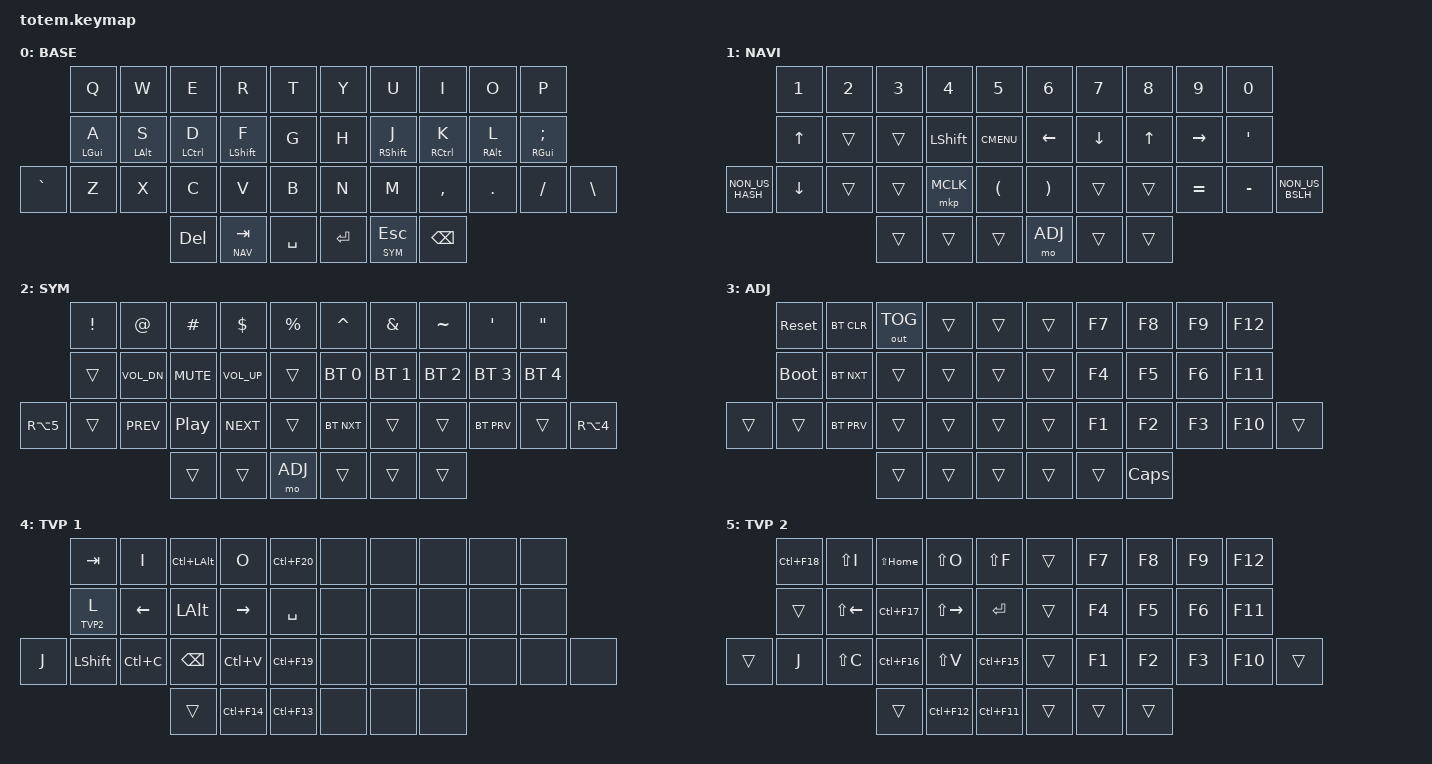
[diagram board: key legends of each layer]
//
//                                                        ▀▀▀▀▀     ▀▀▀▀▀          ▀▀█▀▀
//                                                        ▄▀▀▀▄  ▄  ▄▀▀▀▄  ▄  ▄▀▀▀▄  █  ▄▀▀▀▄
//                                                        █   █  █  █   █  █  █   █  █  █   █
//                                                         ▀▀▀   █   ▀▀▀   █   ▀▀▀   ▀   ▀▀▀
//                                                               █      ▄▄▄█▄▄▄    █   █  
//                                                               ▀      █  █  █     █▄█
//                                                             ▀▀▀▀▀    █  █  █      ▀
//                                                                      ▀  ▀  ▀
//
// ▄▄▄▄▄▄▄▄▄▄▄▄▄▄▄▄▄▄▄▄▄▄▄▄▄▄▄▄▄▄▄▄▄▄▄▄▄▄▄▄▄▄▄▄▄▄▄▄▄▄▄▄▄▄▄▄▄▄▄▄▄▄▄▄▄▄▄▄▄▄▄▄▄▄▄▄▄▄▄▄▄▄▄▄▄▄▄▄▄▄▄▄▄▄▄▄▄▄▄▄▄▄▄▄▄▄▄▄▄▄▄▄▄▄▄▄▄▄▄▄▄▄▄▄▄▄▄▄▄▄▄▄▄▄▄▄▄▄▄▄▄▄▄▄▄▄▄▄▄
       

#include <behaviors.dtsi>
#include <dt-bindings/zmk/keys.h>
#include <dt-bindings/zmk/bt.h>
#include <dt-bindings/zmk/outputs.h>
#include <dt-bindings/zmk/mouse.h>

#define BASE 0
#define NAV  1
#define SYM  2
#define ADJ  3
#define TVP1 4
#define TVP2 5

&mt {
  quick-tap-ms = <100>;
  global-quick-tap;
  flavor = "tap-preferred";
  tapping-term-ms = <170>;
};

/ {
     combos {
            compatible = "zmk,combos";
            combo_esc {
                timeout-ms = <50>;
                key-positions = <0 1>;
                bindings = <&kp ESC>;
            };
            combo_tvp {
                timeout-ms = <100>;
                key-positions = <11 12 13>;
                bindings = <&tog TVP1>;
            };
    };

    macros {
        gif: gif {
            label = "giphy";
            compatible = "zmk,behavior-macro";
            #binding-cells = <0>;
            bindings
                = <&macro_press &kp LSHFT>
                , <&macro_tap &kp N2>
                , <&macro_release &kp LSHFT>
                , <&macro_tap &kp G &kp I &kp F>
                ;
        };
    };

        keymap {
                compatible = "zmk,keymap";
// ▄▄▄▄▄▄▄▄▄▄▄▄▄▄▄▄▄▄▄▄▄▄▄▄▄▄▄▄▄▄▄▄▄▄▄▄▄▄▄▄▄▄▄▄▄▄▄▄▄▄▄▄▄▄▄▄▄▄▄▄▄▄▄▄▄▄▄▄▄▄▄▄▄▄▄▄▄▄▄▄▄▄▄▄▄▄▄▄▄▄▄▄▄▄▄▄▄▄▄▄▄▄▄▄▄▄▄▄▄▄▄▄▄▄▄▄▄▄▄▄▄▄▄▄▄▄▄▄▄▄▄▄▄▄▄▄▄▄▄▄▄▄▄▄▄▄▄▄▄

                base_layer {
// ┏━━━━━━━━━━━━━━━━━━━━━━━━━━━━━━━━━━━━━━━┓
label= "BASE"                              ;
// ┗━━━━━━━━━━━━━━━━━━━━━━━━━━━━━━━━━━━━━━━┛
//             ┏━━━━━━━━━━━┳━━━━━━━━━━━┳━━━━━━━━━━━┳━━━━━━━━━━━┳━━━━━━━━━━━┓   ┏━━━━━━━━━━━┳━━━━━━━━━━━┳━━━━━━━━━━━┳━━━━━━━━━━━┳━━━━━━━━━━━┓
//             ┃     Q     ┃     W     ┃     E     ┃     R     ┃     T     ┃   ┃     Y     ┃     U     ┃     I     ┃     O     ┃     P     ┃
//             ┣━━━━━━━━━━━╋━━━━━━━━━━━╋━━━━━━━━━━━╋━━━━━━━━━━━╋━━━━━━━━━━━┫   ┣━━━━━━━━━━━╋━━━━━━━━━━━╋━━━━━━━━━━━╋━━━━━━━━━━━╋━━━━━━━━━━━┫
//             ┃     A     ┃     S     ┃     D     ┃     F     ┃     G     ┃   ┃     H     ┃     J     ┃     K     ┃     L     ┃     ;     ┃
// ┏━━━━━━━━━━━╋━━━━━━━━━━━╋━━━━━━━━━━━╋━━━━━━━━━━━╋━━━━━━━━━━━╋━━━━━━━━━━━┫   ┣━━━━━━━━━━━╋━━━━━━━━━━━╋━━━━━━━━━━━╋━━━━━━━━━━━╋━━━━━━━━━━━╋━━━━━━━━━━━┓
// ┃     `     ┃     Z     ┃     X     ┃     C     ┃     V     ┃     B     ┃   ┃     N     ┃     M     ┃     ,     ┃     .     ┃     /     ┃     \     ┃
// ┗━━━━━━━━━━━┻━━━━━━━━━━━┻━━━━━━━━━━━╋━━━━━━━━━━━╋━━━━━━━━━━━╋━━━━━━━━━━━┫   ┣━━━━━━━━━━━╋━━━━━━━━━━━╋━━━━━━━━━━━╋━━━━━━━━━━━┻━━━━━━━━━━━┻━━━━━━━━━━━┛
//                                     ┃    DEL    ┃    TAB    ┃    SPC    ┃   ┃   ENTER   ┃    ESC    ┃   BSPC    ┃
//                                     ┗━━━━━━━━━━━┻━━━━━━━━━━━┻━━━━━━━━━━━┛   ┗━━━━━━━━━━━┻━━━━━━━━━━━┻━━━━━━━━━━━┛
 bindings = <
// ╷           ╷           ╷           ╷           ╷           ╷           ╷   ╷           ╷           ╷           ╷           ╷           ╷           ╷

                &kp Q       &kp W       &kp E       &kp R       &kp T           &kp Y       &kp U       &kp I       &kp O       &kp P
                &mt LGUI A  &mt LALT S  &mt LCTRL D &mt LSHFT F &kp G           &kp H       &mt RSHFT J &mt RCTRL K &mt RALT L  &mt RGUI SEMI
    &kp GRAVE   &kp Z       &kp X       &kp C       &kp V       &kp B           &kp N       &kp M       &kp COMMA   &kp DOT     &kp FSLH    &kp BSLH
                                        &kp DEL   &lt NAV TAB   &kp SPACE       &kp RET   &lt SYM ESC   &kp BSPC
                        >;
                };

// ▄▄▄▄▄▄▄▄▄▄▄▄▄▄▄▄▄▄▄▄▄▄▄▄▄▄▄▄▄▄▄▄▄▄▄▄▄▄▄▄▄▄▄▄▄▄▄▄▄▄▄▄▄▄▄▄▄▄▄▄▄▄▄▄▄▄▄▄▄▄▄▄▄▄▄▄▄▄▄▄▄▄▄▄▄▄▄▄▄▄▄▄▄▄▄▄▄▄▄▄▄▄▄▄▄▄▄▄▄▄▄▄▄▄▄▄▄▄▄▄▄▄▄▄▄▄▄▄▄▄▄▄▄▄▄▄▄▄▄▄▄▄▄▄▄▄▄▄▄


                nav_layer {
// ┏━━━━━━━━━━━━━━━━━━━━━━━━━━━━━━━━━━━━━━━┓
label= "NAVI"                              ;
// ┗━━━━━━━━━━━━━━━━━━━━━━━━━━━━━━━━━━━━━━━┛
//             ┏━━━━━━━━━━━┳━━━━━━━━━━━┳━━━━━━━━━━━┳━━━━━━━━━━━┳━━━━━━━━━━━┓   ┏━━━━━━━━━━━┳━━━━━━━━━━━┳━━━━━━━━━━━┳━━━━━━━━━━━┳━━━━━━━━━━━┓
//             ┃     1     ┃     2     ┃     3     ┃     4     ┃     5     ┃   ┃     6     ┃     7     ┃     8     ┃     9     ┃     0     ┃
//             ┣━━━━━━━━━━━╋━━━━━━━━━━━╋━━━━━━━━━━━╋━━━━━━━━━━━╋━━━━━━━━━━━┫   ┣━━━━━━━━━━━╋━━━━━━━━━━━╋━━━━━━━━━━━╋━━━━━━━━━━━╋━━━━━━━━━━━┫
//             ┃     UP    ┃           ┃           ┃   SHIFT   ┃    MENU   ┃   ┃    LEFT   ┃    DOWN   |    UP     ┃   RIGHT   ┃     '     ┃
// ┏━━━━━━━━━━━╋━━━━━━━━━━━╋━━━━━━━━━━━╋━━━━━━━━━━━╋━━━━━━━━━━━╋━━━━━━━━━━━┫   ┣━━━━━━━━━━━╋━━━━━━━━━━━╋━━━━━━━━━━━╋━━━━━━━━━━━╋━━━━━━━━━━━╋━━━━━━━━━━━┓
// ┃ # (no-US) ┃    DOWN   ┃           ┃           ┃ MID MOUSE ┃     [     ┃   ┃     ]     ┃           ┃           ┃     =     ┃     -     ┃ \ (no-US) ┃
// ┗━━━━━━━━━━━┻━━━━━━━━━━━┻━━━━━━━━━━━╋━━━━━━━━━━━╋━━━━━━━━━━━╋━━━━━━━━━━━┫   ┣━━━━━━━━━━━╋━━━━━━━━━━━╋━━━━━━━━━━━╋━━━━━━━━━━━┻━━━━━━━━━━━┻━━━━━━━━━━━┛
//                                     ┃           ┃           ┃           ┃   ┃    ADJ    ┃           ┃           ┃
//                                     ┗━━━━━━━━━━━┻━━━━━━━━━━━┻━━━━━━━━━━━┛   ┗━━━━━━━━━━━┻━━━━━━━━━━━┻━━━━━━━━━━━┛
 bindings = <
// ╷           ╷           ╷           ╷           ╷           ╷           ╷   ╷           ╷           ╷           ╷           ╷           ╷           ╷

                &kp N1      &kp N2      &kp N3      &kp N4      &kp N5          &kp N6      &kp N7      &kp N8      &kp N9      &kp N0
                &kp UP      &trans      &trans      &kp LSHIFT  &kp K_CMENU     &kp LEFT    &kp DOWN    &kp UP      &kp RIGHT   &kp SQT
&kp NON_US_HASH &kp DOWN    &trans      &trans      &mkp MCLK   &kp LPAR        &kp RPAR    &trans      &trans      &kp EQUAL   &kp MINUS    &kp NON_US_BSLH     
                                        &trans      &trans      &trans          &mo ADJ     &trans      &trans      
                        >;
                };

// ▄▄▄▄▄▄▄▄▄▄▄▄▄▄▄▄▄▄▄▄▄▄▄▄▄▄▄▄▄▄▄▄▄▄▄▄▄▄▄▄▄▄▄▄▄▄▄▄▄▄▄▄▄▄▄▄▄▄▄▄▄▄▄▄▄▄▄▄▄▄▄▄▄▄▄▄▄▄▄▄▄▄▄▄▄▄▄▄▄▄▄▄▄▄▄▄▄▄▄▄▄▄▄▄▄▄▄▄▄▄▄▄▄▄▄▄▄▄▄▄▄▄▄▄▄▄▄▄▄▄▄▄▄▄▄▄▄▄▄▄▄▄▄▄▄▄▄▄▄


                sim_layer {
// ┏━━━━━━━━━━━━━━━━━━━━━━━━━━━━━━━━━━━━━━━┓
label= "SYM"                               ;
// ┗━━━━━━━━━━━━━━━━━━━━━━━━━━━━━━━━━━━━━━━┛
//             ┏━━━━━━━━━━━┳━━━━━━━━━━━┳━━━━━━━━━━━┳━━━━━━━━━━━┳━━━━━━━━━━━┓   ┏━━━━━━━━━━━┳━━━━━━━━━━━┳━━━━━━━━━━━┳━━━━━━━━━━━┳━━━━━━━━━━━┓
//             ┃     !     ┃     @     ┃     #     ┃     $     ┃     %     ┃   ┃     ˆ     ┃     &     ┃     ~     ┃     '     ┃     "     ┃
//             ┣━━━━━━━━━━━╋━━━━━━━━━━━╋━━━━━━━━━━━╋━━━━━━━━━━━╋━━━━━━━━━━━┫   ┣━━━━━━━━━━━╋━━━━━━━━━━━╋━━━━━━━━━━━╋━━━━━━━━━━━╋━━━━━━━━━━━┫
//             ┃           ┃    VOL-   ┃   MUTE    ┃    VOL+   ┃           ┃   ┃    BT 0   ┃    BT 1   ┃    BT 2   ┃    BT 3   ┃    BT 4   ┃
// ┏━━━━━━━━━━━╋━━━━━━━━━━━╋━━━━━━━━━━━╋━━━━━━━━━━━╋━━━━━━━━━━━╋━━━━━━━━━━━┫   ┣━━━━━━━━━━━╋━━━━━━━━━━━╋━━━━━━━━━━━╋━━━━━━━━━━━╋━━━━━━━━━━━╋━━━━━━━━━━━┓
// ┃           ┃           ┃    PREV   ┃   PLAY    ┃   NEXT    ┃           ┃   ┃  BT NEXT  ┃           ┃           ┃  BT PREV  ┃           ┃           ┃
// ┗━━━━━━━━━━━┻━━━━━━━━━━━┻━━━━━━━━━━━╋━━━━━━━━━━━╋━━━━━━━━━━━╋━━━━━━━━━━━┫   ┣━━━━━━━━━━━╋━━━━━━━━━━━╋━━━━━━━━━━━╋━━━━━━━━━━━┻━━━━━━━━━━━┻━━━━━━━━━━━┛
//                                     ┃           ┃           ┃    ADJ    ┃   ┃           ┃           ┃           ┃
//                                     ┗━━━━━━━━━━━┻━━━━━━━━━━━┻━━━━━━━━━━━┛   ┗━━━━━━━━━━━┻━━━━━━━━━━━┻━━━━━━━━━━━┛
 bindings = <
// ╷           ╷           ╷           ╷           ╷           ╷           ╷   ╷           ╷           ╷           ╷           ╷           ╷           ╷

                &kp EXCL    &kp AT      &kp HASH    &kp DLLR    &kp PRCNT       &kp CARET   &kp AMPS    &kp TILDE   &kp SQT     &kp DQT       
                &trans    &kp C_VOL_DN &kp C_MUTE  &kp C_VOL_UP &trans       &bt BT_SEL 0 &bt BT_SEL 1 &bt BT_SEL 2 &bt BT_SEL 3 &bt BT_SEL 4
    &kp RA(N5)  &trans      &kp C_PREV  &kp C_PP    &kp C_NEXT  &trans          &bt BT_NXT  &trans      &trans      &bt BT_PRV  &trans      &kp RA(N4)         
                                        &trans      &trans      &mo ADJ         &trans      &trans      &trans      
                        >;
                };

// ▄▄▄▄▄▄▄▄▄▄▄▄▄▄▄▄▄▄▄▄▄▄▄▄▄▄▄▄▄▄▄▄▄▄▄▄▄▄▄▄▄▄▄▄▄▄▄▄▄▄▄▄▄▄▄▄▄▄▄▄▄▄▄▄▄▄▄▄▄▄▄▄▄▄▄▄▄▄▄▄▄▄▄▄▄▄▄▄▄▄▄▄▄▄▄▄▄▄▄▄▄▄▄▄▄▄▄▄▄▄▄▄▄▄▄▄▄▄▄▄▄▄▄▄▄▄▄▄▄▄▄▄▄▄▄▄▄▄▄▄▄▄▄▄▄▄▄▄▄


                adjust_layer {
// ┏━━━━━━━━━━━━━━━━━━━━━━━━━━━━━━━━━━━━━━━┓
label= "ADJ"                               ;
// ┗━━━━━━━━━━━━━━━━━━━━━━━━━━━━━━━━━━━━━━━┛
//             ┏━━━━━━━━━━━┳━━━━━━━━━━━┳━━━━━━━━━━━┳━━━━━━━━━━━┳━━━━━━━━━━━┓   ┏━━━━━━━━━━━┳━━━━━━━━━━━┳━━━━━━━━━━━┳━━━━━━━━━━━┳━━━━━━━━━━━┓
//             ┃   RESET   ┃ BT CLEAR  ┃  OUT TOG  ┃           ┃           ┃   ┃           ┃    F7     ┃    F8     ┃    F9     ┃    F12    ┃
//             ┣━━━━━━━━━━━╋━━━━━━━━━━━╋━━━━━━━━━━━╋━━━━━━━━━━━╋━━━━━━━━━━━┫   ┣━━━━━━━━━━━╋━━━━━━━━━━━╋━━━━━━━━━━━╋━━━━━━━━━━━╋━━━━━━━━━━━┫
//             ┃ BOOTLOAD  ┃ BT NEXT   ┃           ┃           ┃           ┃   ┃           ┃    F4     ┃    F5     ┃    F6     ┃    F11    ┃
// ┏━━━━━━━━━━━╋━━━━━━━━━━━╋━━━━━━━━━━━╋━━━━━━━━━━━╋━━━━━━━━━━━╋━━━━━━━━━━━┫   ┣━━━━━━━━━━━╋━━━━━━━━━━━╋━━━━━━━━━━━╋━━━━━━━━━━━╋━━━━━━━━━━━╋━━━━━━━━━━━┓
// ┃           ┃           ┃ BT PREV   ┃           ┃           ┃           ┃   ┃           ┃    F1     ┃    F2     ┃    F3     ┃    F10    ┃           ┃
// ┗━━━━━━━━━━━┻━━━━━━━━━━━┻━━━━━━━━━━━╋━━━━━━━━━━━╋━━━━━━━━━━━╋━━━━━━━━━━━┫   ┣━━━━━━━━━━━╋━━━━━━━━━━━╋━━━━━━━━━━━╋━━━━━━━━━━━┻━━━━━━━━━━━┻━━━━━━━━━━━┛
//                                     ┃           ┃           ┃           ┃   ┃           ┃           ┃    CAPS   ┃
//                                     ┗━━━━━━━━━━━┻━━━━━━━━━━━┻━━━━━━━━━━━┛   ┗━━━━━━━━━━━┻━━━━━━━━━━━┻━━━━━━━━━━━┛
 bindings = <
// ╷           ╷           ╷           ╷           ╷           ╷           ╷   ╷           ╷           ╷           ╷           ╷           ╷           ╷

                &sys_reset  &bt BT_CLR &out OUT_TOG &trans      &trans          &trans      &kp F7      &kp F8      &kp F9      &kp F12
                &bootloader &bt BT_NXT  &trans      &trans      &trans          &trans      &kp F4      &kp F5      &kp F6      &kp F11  
    &trans      &trans      &bt BT_PRV  &trans      &trans      &trans          &trans      &kp F1      &kp F2      &kp F3      &kp F10     &trans         
                                        &trans      &trans      &trans          &trans      &trans      &kp CAPS      
                        >;
                };

// ▄▄▄▄▄▄▄▄▄▄▄▄▄▄▄▄▄▄▄▄▄▄▄▄▄▄▄▄▄▄▄▄▄▄▄▄▄▄▄▄▄▄▄▄▄▄▄▄▄▄▄▄▄▄▄▄▄▄▄▄▄▄▄▄▄▄▄▄▄▄▄▄▄▄▄▄▄▄▄▄▄▄▄▄▄▄▄▄▄▄▄▄▄▄▄▄▄▄▄▄▄▄▄▄▄▄▄▄▄▄▄▄▄▄▄▄▄▄▄▄▄▄▄▄▄▄▄▄▄▄▄▄▄▄▄▄▄▄▄▄▄▄▄▄▄▄▄▄▄


                tvp1_layer {
// ┏━━━━━━━━━━━━━━━━━━━━━━━━━━━━━━━━━━━━━━━┓
label= "TVP 1"                             ;
// ┗━━━━━━━━━━━━━━━━━━━━━━━━━━━━━━━━━━━━━━━┛
//             ┏━━━━━━━━━━━┳━━━━━━━━━━━┳━━━━━━━━━━━┳━━━━━━━━━━━┳━━━━━━━━━━━┓   ┏━━━━━━━━━━━┳━━━━━━━━━━━┳━━━━━━━━━━━┳━━━━━━━━━━━┳━━━━━━━━━━━┓
//             ┃ NEXT FILE ┃ MARK IN   ┃ ROTATE    ┃ MARK OUT  ┃ SHOW SNAP ┃   ┃           ┃           ┃           ┃           ┃           ┃
//             ┣━━━━━━━━━━━╋━━━━━━━━━━━╋━━━━━━━━━━━╋━━━━━━━━━━━╋━━━━━━━━━━━┫   ┣━━━━━━━━━━━╋━━━━━━━━━━━╋━━━━━━━━━━━╋━━━━━━━━━━━╋━━━━━━━━━━━┫
//             ┃ TVP II    ┃ LEFT      ┃ PAN       ┃ RIGHT     ┃ PLAY/FLIP ┃   ┃           ┃           ┃           ┃           ┃           ┃
// ┏━━━━━━━━━━━╋━━━━━━━━━━━╋━━━━━━━━━━━╋━━━━━━━━━━━╋━━━━━━━━━━━╋━━━━━━━━━━━┫   ┣━━━━━━━━━━━╋━━━━━━━━━━━╋━━━━━━━━━━━╋━━━━━━━━━━━╋━━━━━━━━━━━╋━━━━━━━━━━━┓
// ┃ FULLSCR   ┃ SHIFT     ┃ COPY      ┃ DELETE    ┃ PASTE     ┃ IMG MARK  ┃   ┃           ┃           ┃           ┃           ┃           ┃           ┃
// ┗━━━━━━━━━━━┻━━━━━━━━━━━┻━━━━━━━━━━━╋━━━━━━━━━━━╋━━━━━━━━━━━╋━━━━━━━━━━━┫   ┣━━━━━━━━━━━╋━━━━━━━━━━━╋━━━━━━━━━━━╋━━━━━━━━━━━┻━━━━━━━━━━━┻━━━━━━━━━━━┛
//                                     ┃           ┃ UNDO/SAVE ┃  SEL/MOV  ┃   ┃           ┃           ┃           ┃
//                                     ┗━━━━━━━━━━━┻━━━━━━━━━━━┻━━━━━━━━━━━┛   ┗━━━━━━━━━━━┻━━━━━━━━━━━┻━━━━━━━━━━━┛
 bindings = <
// ╷           ╷           ╷           ╷           ╷           ╷           ╷   ╷           ╷           ╷           ╷           ╷           ╷           ╷

                &kp TAB     &kp I       &kp LC(LALT) &kp O      &kp LC(F20)     &none       &none       &none       &none       &none
                &lt TVP2 L  &kp LEFT    &kp LALT    &kp RIGHT   &kp SPACE       &none       &none       &none       &none       &none
    &kp J       &kp LSHFT   &kp LC(C)   &kp BSPC    &kp LC(V)   &kp LC(F19)     &none       &none       &none       &none       &none       &none        
                                        &trans      &kp LC(F14) &kp LC(F13)     &none       &none       &none    
                        >;
                };

// ▄▄▄▄▄▄▄▄▄▄▄▄▄▄▄▄▄▄▄▄▄▄▄▄▄▄▄▄▄▄▄▄▄▄▄▄▄▄▄▄▄▄▄▄▄▄▄▄▄▄▄▄▄▄▄▄▄▄▄▄▄▄▄▄▄▄▄▄▄▄▄▄▄▄▄▄▄▄▄▄▄▄▄▄▄▄▄▄▄▄▄▄▄▄▄▄▄▄▄▄▄▄▄▄▄▄▄▄▄▄▄▄▄▄▄▄▄▄▄▄▄▄▄▄▄▄▄▄▄▄▄▄▄▄▄▄▄▄▄▄▄▄▄▄▄▄▄▄▄


                tvp2_layer {
// ┏━━━━━━━━━━━━━━━━━━━━━━━━━━━━━━━━━━━━━━━┓
label= "TVP 2"                             ;
// ┗━━━━━━━━━━━━━━━━━━━━━━━━━━━━━━━━━━━━━━━┛
//             ┏━━━━━━━━━━━┳━━━━━━━━━━━┳━━━━━━━━━━━┳━━━━━━━━━━━┳━━━━━━━━━━━┓   ┏━━━━━━━━━━━┳━━━━━━━━━━━┳━━━━━━━━━━━┳━━━━━━━━━━━┳━━━━━━━━━━━┓
//             ┃ SOLO      ┃ TOGGLE IN ┃ RESET ROT ┃ TOGGLE OUT┃ TAKE SNAP ┃   ┃           ┃           ┃           ┃           ┃           ┃
//             ┣━━━━━━━━━━━╋━━━━━━━━━━━╋━━━━━━━━━━━╋━━━━━━━━━━━╋━━━━━━━━━━━┫   ┣━━━━━━━━━━━╋━━━━━━━━━━━╋━━━━━━━━━━━╋━━━━━━━━━━━╋━━━━━━━━━━━┫
//             ┃ ---       ┃ LAST KEY  ┃ NEW KEY   ┃ NEXT KEY  ┃ ENTER     ┃   ┃           ┃           ┃           ┃           ┃           ┃
// ┏━━━━━━━━━━━╋━━━━━━━━━━━╋━━━━━━━━━━━╋━━━━━━━━━━━╋━━━━━━━━━━━╋━━━━━━━━━━━┫   ┣━━━━━━━━━━━╋━━━━━━━━━━━╋━━━━━━━━━━━╋━━━━━━━━━━━╋━━━━━━━━━━━╋━━━━━━━━━━━┓
// ┃           ┃ FULLSCR   ┃ CPY2BRUSH ┃ DEL HEAD  ┃ PSTinPLACE┃ BOOK MARK ┃   ┃           ┃           ┃           ┃           ┃           ┃           ┃
// ┗━━━━━━━━━━━┻━━━━━━━━━━━┻━━━━━━━━━━━╋━━━━━━━━━━━╋━━━━━━━━━━━╋━━━━━━━━━━━┫   ┣━━━━━━━━━━━╋━━━━━━━━━━━╋━━━━━━━━━━━╋━━━━━━━━━━━┻━━━━━━━━━━━┻━━━━━━━━━━━┛
//                                     ┃           ┃ REDO/SAV1 ┃TRANS/WARP ┃   ┃           ┃           ┃           ┃
//                                     ┗━━━━━━━━━━━┻━━━━━━━━━━━┻━━━━━━━━━━━┛   ┗━━━━━━━━━━━┻━━━━━━━━━━━┻━━━━━━━━━━━┛
 bindings = <
// ╷           ╷           ╷           ╷           ╷           ╷           ╷   ╷           ╷           ╷           ╷           ╷           ╷           ╷

                &kp LC(F18) &kp LS(I)  &kp LS(HOME) &kp LS(O)   &kp LS(F)       &trans      &kp F7      &kp F8      &kp F9      &kp F12
                &trans      &kp LS(LEFT) &kp LC(F17) &kp LS(RIGHT) &kp RET      &trans      &kp F4      &kp F5      &kp F6      &kp F11  
    &trans      &kp J       &kp LS(C)   &kp LC(F16) &kp LS(V)   &kp LC(F15)     &trans      &kp F1      &kp F2      &kp F3      &kp F10     &trans         
                                        &trans      &kp LC(F12) &kp LC(F11)     &trans      &trans      &trans      
                        >;
                };
        };
};
